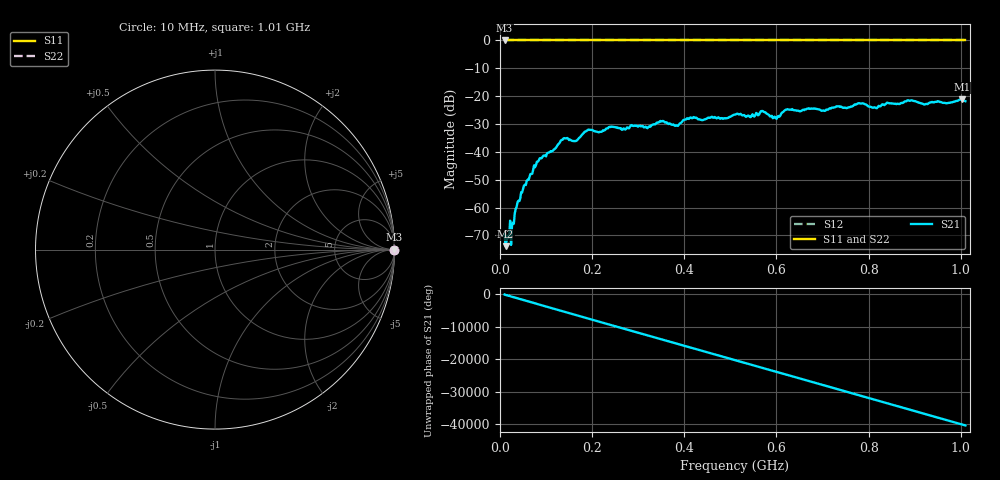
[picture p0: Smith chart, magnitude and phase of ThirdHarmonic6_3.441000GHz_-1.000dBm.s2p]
! 8/17/2025 11:05:36 AM
! C:\ANRITSUVNA\TEMP\TEMP.S2P
! CHANNEL.1
! TR.MEASUREMENT
! RAW.DATA
! RF.CORRECTION.OFF
! AVERAGING.OFF
! IF.BANDWIDTH: 5KHZ
! SWEEPTYPE:  FREQ.SWEEP(Linear)
! Reference Plane Port Info
! PORT:  PORT1  PORT2
! DISTANCE:  0  m  0  m
! TIME:  0  s  0  s
! PHASE.OFFSET:  0  deg.  0  deg.
! LOSS:  0  dB  0  dB
! REF.LOSS:  0  dB  0  dB
! REF.FREQ:  0  Hz  0  Hz
! Power Info
! POWER:  -20  dBm  -20  dBm
! EFF.POWER:  -20  dBm  -20  dBm
! SOURCE.ATTEN:  0  dB  0  dB
! TEST.ATTEN:  0  dB  0  dB
# GHZ S RI R 50.0
! FREQ.GHZ  S11RE  S11IM  S21RE  S21IM  S12RE  S12IM  S22RE  S22IM
!; PortSelection: Port_12
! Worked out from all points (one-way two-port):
!   501 points, 10 MHz to 1.01 GHz, reference 50 ohm
!   highest |S21| = -21.14 dB at 1.002 GHz (marker M1); lowest = -73.9 dB at 12 MHz (marker M2)
!   lowest |S11| = 0.0 dB at 10 MHz (marker M3)
!   |S11| at or under -10 dB: nowhere
!   |S22| runs from 0.0 to 0.0 dB; largest |S21 - S12| = 1.1
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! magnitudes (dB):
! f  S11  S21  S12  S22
! 10 MHz  0.0  -69.5  0.0  0.0
! 12 MHz  0.0  -73.9  0.0  0.0
! 16 MHz  0.0  -70.1  0.0  0.0
! 28 MHz  0.0  -65.5  0.0  0.0
! 36 MHz  0.0  -59.8  0.0  0.0
! 50 MHz  0.0  -53.4  0.0  0.0
! 84 MHz  0.0  -43.1  0.0  0.0
! 136 MHz  0.0  -35.6  0.0  0.0
! 164 MHz  0.0  -36.1  0.0  0.0
! 178 MHz  0.0  -33.8  0.0  0.0
! 194 MHz  0.0  -32.1  0.0  0.0
! 344 MHz  0.0  -29.5  0.0  0.0
! 384 MHz  0.0  -30.6  0.0  0.0
! 410 MHz  0.0  -28.2  0.0  0.0
! 510 MHz  0.0  -26.6  0.0  0.0
! 570 MHz  0.0  -25.3  0.0  0.0
! 596 MHz  0.0  -27.4  0.0  0.0
! 622 MHz  0.0  -24.8  0.0  0.0
! 678 MHz  0.0  -24.5  0.0  0.0
! 844 MHz  0.0  -22.6  0.0  0.0
! 1.002 GHz  0.0  -21.1  0.0  0.0
! 1.01 GHz  0.0  -21.8  0.0  0.0
